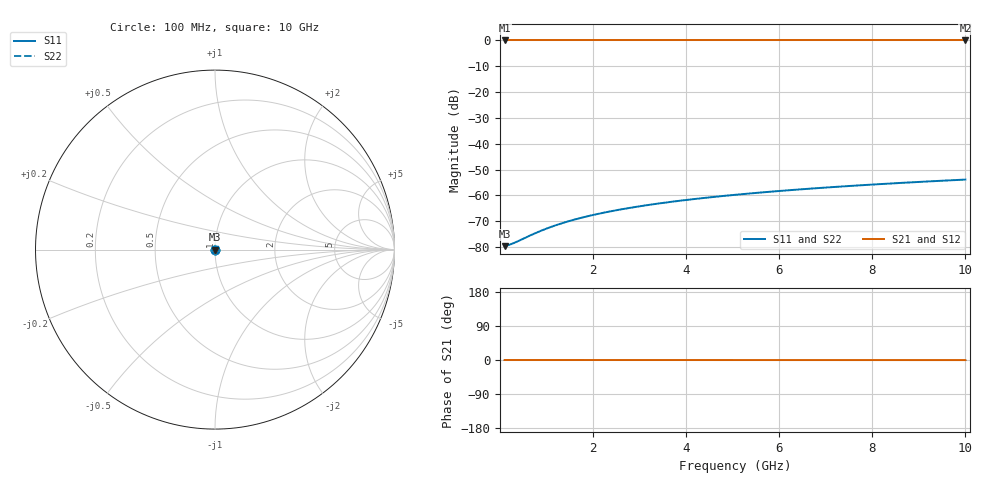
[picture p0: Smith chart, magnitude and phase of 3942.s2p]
# Hz S RI R 50.00
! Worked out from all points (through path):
!   100 points, 100 MHz to 10 GHz, reference 50 ohm
!   highest |S21| = 0.00 dB at 100 MHz (marker M1); lowest = 0.0 dB at 10 GHz (marker M2)
!   lowest |S11| = -79.6 dB at 100 MHz (marker M3), VSWR 1.00, Z = 50 + j0.00202 ohm
!   |S11| at or under -10 dB: start of sweep to end of sweep
!   |S22| runs from -79.6 to -53.9 dB; largest |S21 - S12| = 1e-15
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1e8  0.000102 2.02e-05  0.9999 -3.4e-05  0.9999 -3.4e-05  0.000102 2.02e-05
2e8  0.000103 4.04e-05  0.9999 -6.79e-05  0.9999 -6.79e-05  0.000103 4.04e-05
3e8  0.000103 6.07e-05  0.9999 -0.000102  0.9999 -0.000102  0.000103 6.07e-05
8e8  0.000105 0.000162  0.9999 -0.000272  0.9999 -0.000272  0.000105 0.000162
9e8  0.000105 0.000182  0.9999 -0.000306  0.9999 -0.000306  0.000105 0.000182
1.1e9  0.000106 0.000222  0.9999 -0.000374  0.9999 -0.000374  0.000106 0.000222
1.4e9  0.000106 0.000283  0.9999 -0.000476  0.9999 -0.000476  0.000106 0.000283
1.6e9  0.000107 0.000324  0.9999 -0.000544  0.9999 -0.000544  0.000107 0.000324
1.8e9  0.000107 0.000364  0.9999 -0.000612  0.9999 -0.000612  0.000107 0.000364
2.1e9  0.000108 0.000425  0.9999 -0.000713  0.9999 -0.000713  0.000108 0.000425
2.5e9  0.000108 0.000506  0.9999 -0.000849  0.9999 -0.000849  0.000108 0.000506
2.9e9  0.000109 0.000587  0.9999 -0.000985  0.9999 -0.000985  0.000109 0.000587
3.4e9  0.000109 0.000688  0.9999 -0.00116  0.9999 -0.00116  0.000109 0.000688
3.8e9  0.00011 0.000769  0.9999 -0.00129  0.9999 -0.00129  0.00011 0.000769
4.2e9  0.000111 0.00085  0.9999 -0.00143  0.9999 -0.00143  0.000111 0.00085
4.6e9  0.000111 0.000931  0.9999 -0.00156  0.9999 -0.00156  0.000111 0.000931
5.1e9  0.000112 0.00103  0.9999 -0.00173  0.9999 -0.00173  0.000112 0.00103
5.9e9  0.000113 0.00119  0.9999 -0.00201  0.9999 -0.00201  0.000113 0.00119
6.7e9  0.000115 0.00136  0.9999 -0.00228  0.9999 -0.00228  0.000115 0.00136
7.5e9  0.000116 0.00152  0.9999 -0.00255  0.9999 -0.00255  0.000116 0.00152
8.4e9  0.000118 0.0017  0.9999 -0.00286  0.9999 -0.00286  0.000118 0.0017
1e10  0.000121 0.00203  0.9999 -0.0034  0.9999 -0.0034  0.000121 0.00203
